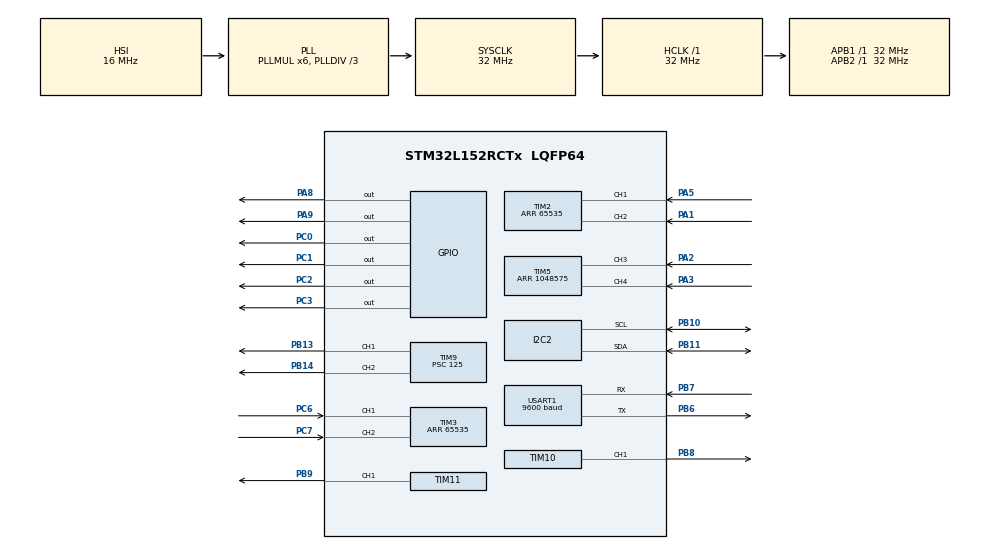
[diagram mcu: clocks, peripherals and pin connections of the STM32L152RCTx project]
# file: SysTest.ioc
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Mcu.Family=STM32L1
Mcu.Name=STM32L152RCTx
Mcu.Package=LQFP64
NVIC.PriorityGroup=NVIC_PRIORITYGROUP_0
NVIC.TIM2_IRQn=true\:0\:0\:false\:false\:true\:true
NVIC.TIM3_IRQn=true\:0\:0\:false\:false\:true\:true
NVIC.TIM5_IRQn=true\:0\:0\:false\:false\:true\:true
NVIC.TIM6_IRQn=true\:0\:0\:false\:false\:true\:true
NVIC.USART1_IRQn=true\:0\:0\:false\:false\:true\:true
PA0-WKUP1.Mode=SYS_WakeUp0
PA0-WKUP1.Signal=SYS_WKUP1
PA1.Signal=S_TIM2_CH2
PA10.GPIO_Label=COM2 [GH08172T_COM2]
PA10.GPIO_Mode=GPIO_MODE_AF_PP
PA10.GPIO_PuPd=GPIO_NOPULL
PA10.GPIO_Speed=GPIO_SPEED_FREQ_LOW
PA10.Signal=LCD_COM2
PA13.GPIO_Label=SWDIO
PA13.Mode=Serial_Wire
PA13.Signal=SYS_JTMS-SWDIO
PA14.GPIO_Label=SWCLK
PA14.Mode=Serial_Wire
PA14.Signal=SYS_JTCK-SWCLK
PA15.Signal=SYS_JTDI
PA2.Signal=S_TIM5_CH3
PA3.Signal=S_TIM5_CH4
PA4.GPIO_Label=IDD_Measurement
PA4.GPIO_Mode=GPIO_MODE_ANALOG
PA4.GPIO_PuPd=GPIO_NOPULL
PA4.Signal=ADC_IN4
PA5.Signal=S_TIM2_CH1_ETR
PA6.GPIO_Label=GRP2_Sampling [Touch_Slider_1]
PA6.Signal=TS_G2_IO1
PA7.GPIO_Label=GRP2_Ground [Touch_Slider_1]
PA7.Signal=TS_G2_IO2
PA8.GPIO_Speed=GPIO_SPEED_FREQ_MEDIUM
PA8.Signal=GPIO_Output
PA9.GPIO_Speed=GPIO_SPEED_FREQ_MEDIUM
PA9.Signal=GPIO_Output
PB0.GPIO_Label=GRP3_Sampling [Touch_Slider_3]
PB0.Signal=SharedAnalog_PB0
PB1.GPIO_Label=GRP3_Ground [Touch_Slider_3]
PB1.Signal=TS_G3_IO2
PB10.Mode=I2C
PB10.Signal=I2C2_SCL
PB11.Mode=I2C
PB11.Signal=I2C2_SDA
PB12.GPIO_Label=SEG8 [GH08172T_SEG8]
PB12.GPIO_Mode=GPIO_MODE_AF_PP
PB12.GPIO_PuPd=GPIO_NOPULL
PB12.GPIO_Speed=GPIO_SPEED_FREQ_LOW
PB12.Signal=LCD_SEG12
PB13.Signal=S_TIM9_CH1
PB14.Signal=S_TIM9_CH2
PB15.GPIO_Label=SEG11 [GH08172T_SEG11]
PB15.GPIO_Mode=GPIO_MODE_AF_PP
PB15.GPIO_PuPd=GPIO_NOPULL
PB15.GPIO_Speed=GPIO_SPEED_FREQ_LOW
PB15.Signal=LCD_SEG15
PB3.Signal=SYS_JTDO-TRACESWO
PB4.Signal=SYS_JTRST
PB5.GPIO_Label=SEG5 [GH08172T_SEG5]
PB5.GPIO_Mode=GPIO_MODE_AF_PP
PB5.GPIO_PuPd=GPIO_NOPULL
PB5.GPIO_Speed=GPIO_SPEED_FREQ_LOW
PB5.Signal=LCD_SEG9
PB6.Mode=Asynchronous
PB6.Signal=USART1_TX
PB7.Mode=Asynchronous
PB7.Signal=USART1_RX
PB8.Signal=S_TIM10_CH1
PB9.Signal=S_TIM11_CH1
PC0.Signal=GPIO_Output
PC1.Signal=GPIO_Output
PC10.GPIO_Label=SEG22 [GH08172T_SEG22]
PC10.GPIO_Mode=GPIO_MODE_AF_PP
PC10.GPIO_PuPd=GPIO_NOPULL
PC10.GPIO_Speed=GPIO_SPEED_FREQ_LOW
PC10.Signal=LCD_SEG28
PC11.GPIO_Label=SEG23 [GH08172T_SEG23]
PC11.GPIO_Mode=GPIO_MODE_AF_PP
PC11.GPIO_PuPd=GPIO_NOPULL
PC11.GPIO_Speed=GPIO_SPEED_FREQ_LOW
PC11.Signal=LCD_SEG29
PC13-WKUP2.Mode=SYS_WakeUp1
PC13-WKUP2.Signal=SYS_WKUP2
PC14-OSC32_IN.GPIO_Label=PC14-OSC32_IN
PC14-OSC32_IN.Signal=RCC_OSC32_IN
PC15-OSC32_OUT.GPIO_Label=PC15-OSC32_OUT
PC15-OSC32_OUT.Signal=RCC_OSC32_OUT
PC2.Signal=GPIO_Output
PC3.Signal=GPIO_Output
PC4.GPIO_Label=GRP9_Sampling [Touch_Slider_2]
PC4.Signal=TS_G9_IO1
PC5.GPIO_Label=GRP9_Ground [Touch_Slider_2]
PC5.Signal=TS_G9_IO2
PC6.Signal=S_TIM3_CH1
PC7.Signal=S_TIM3_CH2
PC8.GPIO_Label=SEG20 [GH08172T_SEG20]
PC8.GPIO_Mode=GPIO_MODE_AF_PP
PC8.GPIO_PuPd=GPIO_NOPULL
PC8.GPIO_Speed=GPIO_SPEED_FREQ_LOW
PC8.Signal=LCD_SEG26
PC9.GPIO_Label=SEG21 [GH08172T_SEG21]
PC9.GPIO_Mode=GPIO_MODE_AF_PP
PC9.GPIO_PuPd=GPIO_NOPULL
PC9.GPIO_Speed=GPIO_SPEED_FREQ_LOW
PC9.Signal=LCD_SEG27
ProjectManager.HeapSize=0x200
ProjectManager.StackSize=0x400
ProjectManager.TargetToolchain=TrueSTUDIO
RCC.48MHZClocksFreq_Value=48000000
RCC.AHBFreq_Value=32000000
RCC.APB1Freq_Value=32000000
RCC.APB1TimFreq_Value=32000000
RCC.APB2Freq_Value=32000000
RCC.APB2TimFreq_Value=32000000
RCC.HCLKFreq_Value=32000000
RCC.HSE_VALUE=8000000
RCC.HSI_VALUE=16000000
RCC.LSE_VALUE=32768
RCC.MSI_VALUE=2097000
RCC.PLLDIV=RCC_PLL_DIV3
RCC.PLLMUL=RCC_PLL_MUL6
RCC.RTCClockSelectionVirtual=RCC_RTCCLKSOURCE_LSE
RCC.SYSCLKFreq_VALUE=32000000
RCC.SYSCLKSource=RCC_SYSCLKSOURCE_PLLCLK
RCC.USBOutput=48000000
RCC.VCOOutputFreq_Value=96000000
SH.S_TIM10_CH1.0=TIM10_CH1,PWM Generation1 CH1
SH.S_TIM11_CH1.0=TIM11_CH1,PWM Generation1 CH1
SH.S_TIM2_CH1_ETR.0=TIM2_CH1,Encoder_Interface
SH.S_TIM2_CH2.0=TIM2_CH2,Encoder_Interface
SH.S_TIM3_CH1.0=TIM3_CH1,Encoder_Interface
SH.S_TIM3_CH2.0=TIM3_CH2,Encoder_Interface
SH.S_TIM5_CH3.0=TIM5_CH3,Input_Capture3_from_TI3
SH.S_TIM5_CH4.0=TIM5_CH4,Input_Capture4_from_TI4
SH.S_TIM9_CH1.0=TIM9_CH1,PWM Generation1 CH1
SH.S_TIM9_CH2.0=TIM9_CH2,PWM Generation2 CH2
SH.SharedAnalog_PB0.0=TS_G3_IO1
SH.SharedAnalog_PB0.1=SYS_V_REF_OUT,Voltage_reference
TIM10.Channel=TIM_CHANNEL_1
TIM10.Period=2000
TIM10.Prescaler=16
TIM11.Channel=TIM_CHANNEL_1
TIM11.Period=2000
TIM11.Prescaler=16
TIM2.EncoderMode=TIM_ENCODERMODE_TI12
TIM2.Period=65535
TIM3.CounterMode=TIM_COUNTERMODE_UP
TIM3.EncoderMode=TIM_ENCODERMODE_TI12
TIM3.Period=65535
TIM5.Channel-Input_Capture3_from_TI3=TIM_CHANNEL_3
TIM5.Channel-Input_Capture4_from_TI4=TIM_CHANNEL_4
TIM5.ICPolarity_CH3=TIM_INPUTCHANNELPOLARITY_BOTHEDGE
TIM5.ICPolarity_CH4=TIM_INPUTCHANNELPOLARITY_BOTHEDGE
TIM5.Period=1048575
TIM6.Period=1
TIM6.Prescaler=31999
TIM9.Channel-PWM\ Generation1\ CH1=TIM_CHANNEL_1
TIM9.Channel-PWM\ Generation2\ CH2=TIM_CHANNEL_2
TIM9.Period=1024
TIM9.Prescaler=125
USART1.BaudRate=9600
USART1.VirtualMode=VM_ASYNC
VP_TIM10_VS_ClockSourceINT.Mode=Internal
VP_TIM11_VS_ClockSourceINT.Mode=Internal
VP_TIM5_VS_ClockSourceINT.Mode=Internal
VP_TIM6_VS_ClockSourceINT.Mode=Enable_Timer
VP_TIM9_VS_ClockSourceINT.Mode=Internal
board=32L152CDISCOVERY

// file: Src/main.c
/**
  ******************************************************************************
  * @file           : main.c
  * @brief          : Main program body
  ******************************************************************************
  ** This notice applies to any and all portions of this file
  * that are not between comment pairs USER CODE BEGIN and
  * USER CODE END. Other portions of this file, whether
  * inserted by the user or by software development tools
  * are owned by their respective copyright owners.
  *
  * COPYRIGHT(c) 2018 STMicroelectronics
  *
  * Redistribution and use in source and binary forms, with or without modification,
  * are permitted provided that the following conditions are met:
  *   1. Redistributions of source code must retain the above copyright notice,
  *      this list of conditions and the following disclaimer.
  *   2. Redistributions in binary form must reproduce the above copyright notice,
  *      this list of conditions and the following disclaimer in the documentation
  *      and/or other materials provided with the distribution.
  *   3. Neither the name of STMicroelectronics nor the names of its contributors
  *      may be used to endorse or promote products derived from this software
  *      without specific prior written permission.
  *
  * THIS SOFTWARE IS PROVIDED BY THE COPYRIGHT HOLDERS AND CONTRIBUTORS "AS IS"
  * AND ANY EXPRESS OR IMPLIED WARRANTIES, INCLUDING, BUT NOT LIMITED TO, THE
  * IMPLIED WARRANTIES OF MERCHANTABILITY AND FITNESS FOR A PARTICULAR PURPOSE ARE
  * DISCLAIMED. IN NO EVENT SHALL THE COPYRIGHT HOLDER OR CONTRIBUTORS BE LIABLE
  * FOR ANY DIRECT, INDIRECT, INCIDENTAL, SPECIAL, EXEMPLARY, OR CONSEQUENTIAL
  * DAMAGES (INCLUDING, BUT NOT LIMITED TO, PROCUREMENT OF SUBSTITUTE GOODS OR
  * SERVICES; LOSS OF USE, DATA, OR PROFITS; OR BUSINESS INTERRUPTION) HOWEVER
  * CAUSED AND ON ANY THEORY OF LIABILITY, WHETHER IN CONTRACT, STRICT LIABILITY,
  * OR TORT (INCLUDING NEGLIGENCE OR OTHERWISE) ARISING IN ANY WAY OUT OF THE USE
  * OF THIS SOFTWARE, EVEN IF ADVISED OF THE POSSIBILITY OF SUCH DAMAGE.
  *
  ******************************************************************************
  */
#include "main.h"
#include "stm32l1xx_hal.h"
#include "i2c.h"
#include "tim.h"
#include "usart.h"
#include "gpio.h"

/* USER CODE BEGIN Includes */
#include <string.h>
#include <stdlib.h>
#include <math.h>
#include "WW_CMD.h"
#include "WW_Loc.h"
#include "WW_Sen.h"
#include "WW_Defs.h"
#include "WW_PP.h"
/* USER CODE END Includes */

/* USER CODE BEGIN PV */
/* Private variables ---------------------------------------------------------*/
double d_y;
double a_y;

/* USER CODE END PV */

void SystemClock_Config(void);

/* USER CODE BEGIN PFP */
/* Private function prototypes -----------------------------------------------*/
void setup();
void HAL_UART_RxCpltCallback(UART_HandleTypeDef *huart);
/* USER CODE END PFP */

int main(void)
{

  /* MCU Configuration----------------------------------------------------------*/

  /* Reset of all peripherals, Initializes the Flash interface and the Systick. */
  HAL_Init();

  /* Configure the system clock */
  SystemClock_Config();

  /* Initialize all configured peripherals */
  MX_GPIO_Init();
  MX_USART1_UART_Init();
  MX_TIM9_Init();
  MX_TIM10_Init();
  MX_TIM11_Init();
  MX_TIM3_Init();
  MX_TIM2_Init();
  MX_TIM6_Init();
  MX_TIM5_Init();
  MX_I2C2_Init();
  /* USER CODE BEGIN 2 */
  setup();
  /* USER CODE END 2 */

  /* Infinite loop */
  /* USER CODE BEGIN WHILE */
  //__HAL_TIM_SetCompare(&htim9, TIM_CHANNEL_2, (int16_t)60);
  while (1)
  {
//	  __HAL_TIM_SetCompare(&htim9, TIM_CHANNEL_2, (int16_t)60);
//	  HAL_Delay(3000);
//	  __HAL_TIM_SetCompare(&htim9, TIM_CHANNEL_2, (int16_t)540);
//	  HAL_Delay(3000);
	  //Parse Recieved Serial Commands
	  Parse_CMD(&htim9, &huart1);
	  //Run Motion Planning Algorithm
	  RunMotionPlanning();
	  //Run PID Control to adjust motor PWM to hit targets
	  Run_PID(&huart1);
  /* USER CODE END WHILE */

  }

}

void SystemClock_Config(void)
{

  RCC_OscInitTypeDef RCC_OscInitStruct;
  RCC_ClkInitTypeDef RCC_ClkInitStruct;

    /**Configure the main internal regulator output voltage
    */
  __HAL_PWR_VOLTAGESCALING_CONFIG(PWR_REGULATOR_VOLTAGE_SCALE1);

    /**Initializes the CPU, AHB and APB busses clocks
    */
  RCC_OscInitStruct.OscillatorType = RCC_OSCILLATORTYPE_HSI;
  RCC_OscInitStruct.HSIState = RCC_HSI_ON;
  RCC_OscInitStruct.HSICalibrationValue = 16;
  RCC_OscInitStruct.PLL.PLLState = RCC_PLL_ON;
  RCC_OscInitStruct.PLL.PLLSource = RCC_PLLSOURCE_HSI;
  RCC_OscInitStruct.PLL.PLLMUL = RCC_PLL_MUL6;
  RCC_OscInitStruct.PLL.PLLDIV = RCC_PLL_DIV3;
  if (HAL_RCC_OscConfig(&RCC_OscInitStruct) != HAL_OK)
  {
    _Error_Handler(__FILE__, __LINE__);
  }

    /**Initializes the CPU, AHB and APB busses clocks
    */
  RCC_ClkInitStruct.ClockType = RCC_CLOCKTYPE_HCLK|RCC_CLOCKTYPE_SYSCLK
                              |RCC_CLOCKTYPE_PCLK1|RCC_CLOCKTYPE_PCLK2;
  RCC_ClkInitStruct.SYSCLKSource = RCC_SYSCLKSOURCE_PLLCLK;
  RCC_ClkInitStruct.AHBCLKDivider = RCC_SYSCLK_DIV1;
  RCC_ClkInitStruct.APB1CLKDivider = RCC_HCLK_DIV1;
  RCC_ClkInitStruct.APB2CLKDivider = RCC_HCLK_DIV1;

  if (HAL_RCC_ClockConfig(&RCC_ClkInitStruct, FLASH_LATENCY_1) != HAL_OK)
  {
    _Error_Handler(__FILE__, __LINE__);
  }

    /**Configure the Systick interrupt time
    */
  HAL_SYSTICK_Config(HAL_RCC_GetHCLKFreq()/1000);

    /**Configure the Systick
    */
  HAL_SYSTICK_CLKSourceConfig(SYSTICK_CLKSOURCE_HCLK);

  /* SysTick_IRQn interrupt configuration */
  HAL_NVIC_SetPriority(SysTick_IRQn, 0, 0);
}

/* USER CODE BEGIN 4 */
void setup(){

	//start PWM clocks
	HAL_TIM_PWM_Start(&htim9, TIM_CHANNEL_1);
	HAL_TIM_PWM_Start(&htim9, TIM_CHANNEL_2);
	HAL_TIM_PWM_Start(&htim10, TIM_CHANNEL_1);
	HAL_TIM_PWM_Start(&htim11, TIM_CHANNEL_1);

	//init motor data structures
	initMot(&htim3, &htim2, &htim11, &htim10);

	//init command queue data structure
	initCOM();

	//init IMU data Structure
	initIMU(&hi2c2);

	//start encoder tracking
	HAL_TIM_Encoder_Start(&htim2,TIM_CHANNEL_ALL);
	HAL_TIM_Encoder_Start(&htim3,TIM_CHANNEL_ALL);
	HAL_TIM_IC_Start_IT(&htim2,TIM_CHANNEL_1);
	HAL_TIM_IC_Start_IT(&htim2,TIM_CHANNEL_2);
	HAL_TIM_IC_Start_IT(&htim3,TIM_CHANNEL_1);
	HAL_TIM_IC_Start_IT(&htim3,TIM_CHANNEL_2);

	//Init Ultrasonic Data Structures and interrupts
	initUltrasonics(&htim5);
	HAL_TIM_IC_Start_IT(&htim5,TIM_CHANNEL_3);
	HAL_TIM_IC_Start_IT(&htim5,TIM_CHANNEL_4);
	HAL_Delay(10);
//	d_y = GetUltrasonicY();
//	a_y = d_y/(cos(ROTATIONANGLE*(M_PI/180)));
	//start UART receive interrupt
	UART_ReadStart(&huart1);

	//start code initiation
	char buffer[25];
	uint8_t len=sprintf(buffer,"Init\r\n"); //sprintf will return the length of 'buffer'
	HAL_UART_Transmit(&huart1, (unsigned char*)buffer, len, 1000);
	__HAL_TIM_SetCompare(&htim9, TIM_CHANNEL_2,540);
	//startPosPID();
	return;
}
double Get_PP_LinDis(){
	return 10.0*d_y;
}
double Read_Ultrasonic_Y(){
	d_y = GetUltrasonicY();
	return d_y;
}
double Get_PP_AngledDis(){
	return 10.0*a_y;
}
/* USER CODE END 4 */

void _Error_Handler(char *file, int line)
{
  while(1)
  {
  }
}

/************************ (C) COPYRIGHT STMicroelectronics *****END OF FILE****/
